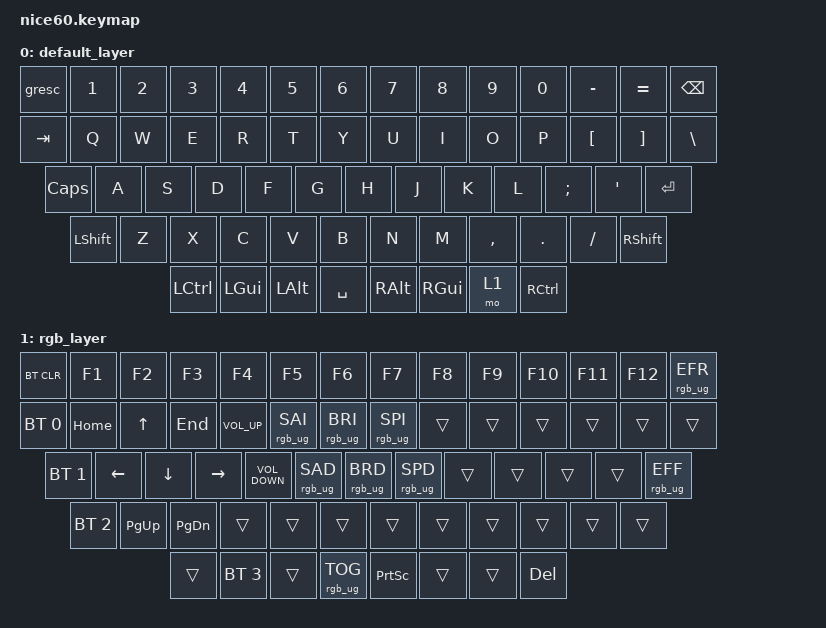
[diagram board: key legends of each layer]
/*
 * Copyright (c) 2021 Nick Winans
 *
 * SPDX-License-Identifier: MIT
 */

#include <behaviors.dtsi>
#include <dt-bindings/zmk/keys.h>
#include <dt-bindings/zmk/rgb.h>
#include <dt-bindings/zmk/bt.h>
#include <dt-bindings/zmk/outputs.h>
#include <dt-bindings/zmk/reset.h>
#include <dt-bindings/zmk/ext_power.h>

&kscan0 {
  col-gpios
    = <&gpio1 15 GPIO_ACTIVE_HIGH>
    , <&gpio0 29 GPIO_ACTIVE_HIGH>
    , <&gpio0 31 GPIO_ACTIVE_HIGH>
    , <&gpio0 30 GPIO_ACTIVE_HIGH>
    , <&gpio0 28 GPIO_ACTIVE_HIGH>
    , <&gpio0 2  GPIO_ACTIVE_HIGH>
    , <&gpio0 20 GPIO_ACTIVE_HIGH>
    , <&gpio1 3  GPIO_ACTIVE_HIGH>
    , <&gpio1 7  GPIO_ACTIVE_HIGH>
    , <&gpio1 4  GPIO_ACTIVE_HIGH>
    , <&gpio1 6  GPIO_ACTIVE_HIGH>
    , <&gpio1 5  GPIO_ACTIVE_HIGH>
    , <&gpio1 1  GPIO_ACTIVE_HIGH>
    , <&gpio1 2  GPIO_ACTIVE_HIGH>
    ;
};

/ {
	keymap {
		compatible = "zmk,keymap";
		
		default_layer {
// ------------------------------------------------------------------------------------------
// | ESC |  1  |  2  |  3  |  4  |  5  |  6  |  7  |  8  |  9  |  0  |  -  |  =  |   BKSP   |
// | TAB  |  Q  |  W  |  E  |  R  |  T  |  Y  |  U  |  I  |  O  |  P  |  [  |  ]  |   "|"   |
// | CAPS  |  A  |  S  |  D  |  F  |  G  |  H  |  J  |  K  |  L  |  ;  |  '  |     ENTER    |
// |  SHIFT  |  Z  |  X  |  C  |  V  |  B  |  N  |  M  |  ,  |  .  |  /  |      SHIFT       |
// |  CTL  |  WIN  |  ALT  |            SPACE              |  ALT  |  WIN  |  MO(1) |  CTL  |
// ------------------------------------------------------------------------------------------
			bindings = <
	&gresc  &kp N1 &kp N2 &kp N3 &kp N4 &kp N5 &kp N6 &kp N7 &kp N8 &kp N9 &kp N0 &kp MINUS &kp EQUAL  &kp BSPC
	&kp TAB  &kp Q  &kp W  &kp E  &kp R  &kp T  &kp Y  &kp U  &kp I  &kp O  &kp P  &kp LBKT  &kp RBKT  &kp BSLH
	&kp CLCK  &kp A  &kp S  &kp D  &kp F  &kp G  &kp H  &kp J  &kp K  &kp L  &kp SEMI &kp SQT           &kp RET
	&kp LSHFT   &kp Z  &kp X  &kp C  &kp V  &kp B  &kp N  &kp M  &kp COMMA &kp DOT &kp FSLH           &kp RSHFT
	&kp LCTRL &kp LGUI &kp LALT             &kp SPACE                     &kp RALT  &kp RGUI  &mo 1   &kp RCTRL
			>;
		};

		rgb_layer {
// ------------------------------------------------------------------------------------------------
// | BT CLR | F1  | F2  | F3  | F4  | F5  | F6  | F7  | F8  | F9  | F10  | F11 | F12 |  |
// |  BT 1   | HOME |  UP | END | VOLUP | SATUP | BRIUP | SPDUP |   |     |    |     |     |           |
// |   BT 2   | LT |  DN  | RT | HUEDN | SATDN | BRIDN | SPDDN |   |     |   |     |   |
// |    BT 3     |  PAGEUP  |  PAGEDOWN |      |     |     |     |     |     |     |     |                  |
// |   BT 4  |      |      |             TOG RGB                | PRT SCR |       |       |  DEL  |
// ------------------------------------------------------------------------------------------------
			bindings = <
	&bt BT_CLR   &kp F1    &kp F2    &kp F3  &kp F4           &kp F5          &kp F6          &kp F7          &kp F8   &kp F9   &kp F10  &kp F11 &kp F12  &rgb_ug RGB_EFR
	&bt BT_SEL 0  &kp HOME &kp UP &kp END  &kp C_VOLUME_UP  &rgb_ug RGB_SAI &rgb_ug RGB_BRI &rgb_ug RGB_SPI  &trans   &trans   &trans   &trans  &trans          &trans 
	&bt BT_SEL 1   &kp LEFT  &kp DOWN  &kp RIGHT &kp C_VOLUME_DOWN &rgb_ug RGB_SAD &rgb_ug RGB_BRD &rgb_ug RGB_SPD &trans   &trans   &trans   &trans        &rgb_ug RGB_EFF
	&bt BT_SEL 2    &kp PAGE_UP    &kp PAGE_DOWN    &trans   &trans          &trans          &trans          &trans          &trans   &trans   &trans                          &trans
	&trans &bt BT_SEL 3     &trans                            &rgb_ug RGB_TOG                                      &kp PSCRN      &trans      &trans               &kp DEL
			>;
		};
	};
};
